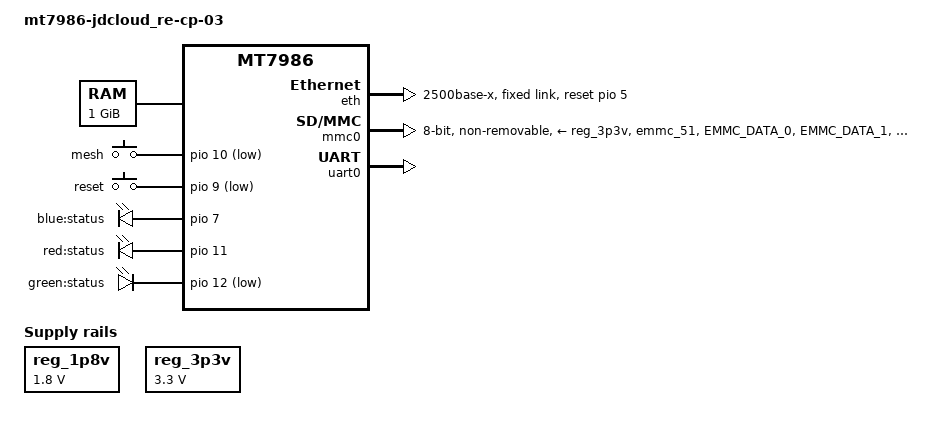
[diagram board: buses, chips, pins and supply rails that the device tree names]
// SPDX-License-Identifier: GPL-2.0-or-later

/dts-v1/;
#include <dt-bindings/input/linux-event-codes.h>
#include "mt7986.dtsi"
#include <dt-bindings/gpio/gpio.h>

/ {
	#address-cells = <1>;
	#size-cells = <1>;
	model = "mt7986-jdcloud_re-cp-03";
	compatible = "mediatek,mt7986", "mediatek,mt7986-rfb";

	chosen {
		stdout-path = &uart0;
		tick-timer = &timer0;
	};

	config {
		bootcmd = "mtkboardboot";
		blink_led = "blue:status";
		system_led = "red:status";
	};

	memory@40000000 {
		device_type = "memory";
		reg = <0x40000000 0x40000000>;
	};

	gpio-keys {
		compatible = "gpio-keys";

		button-mesh {
			label = "mesh";
			linux,code = <BTN_9>;
			gpios = <&pio 10 GPIO_ACTIVE_LOW>;
		};

		button-reset {
			label = "reset";
			linux,code = <KEY_RESTART>;
			gpios = <&pio 9 GPIO_ACTIVE_LOW>;
		};
	};

	gpio-leds {
		compatible = "gpio-leds";

		led-0 {
			label = "blue:status";
			gpios = <&pio 7 GPIO_ACTIVE_HIGH>;
		};

		red_led: led-1 {
			label = "red:status";
			gpios = <&pio 11 GPIO_ACTIVE_HIGH>;
		};

		green_led: led-2 {
			label = "green:status";
			gpios = <&pio 12 GPIO_ACTIVE_LOW>;
		};
	};

	reg_1p8v: regulator-1p8v {
		compatible = "regulator-fixed";
		regulator-name = "fixed-1.8V";
		regulator-min-microvolt = <1800000>;
		regulator-max-microvolt = <1800000>;
		regulator-boot-on;
		regulator-always-on;
	};

	reg_3p3v: regulator-3p3v {
		compatible = "regulator-fixed";
		regulator-name = "fixed-3.3V";
		regulator-min-microvolt = <3300000>;
		regulator-max-microvolt = <3300000>;
		regulator-boot-on;
		regulator-always-on;
	};

	bl2_verify {
		bl2_compatible = "emmc";
	};
};

&eth {
	status = "okay";
	mediatek,gmac-id = <0>;
	phy-mode = "2500base-x";
	mediatek,switch = "auto";
	reset-gpios = <&pio 5 GPIO_ACTIVE_HIGH>;

	fixed-link {
		speed = <2500>;
		full-duplex;
	};
};

&mmc0 {
	bus-width = <8>;
	cap-mmc-highspeed;
	cap-mmc-hw-reset;
	max-frequency = <200000000>;
	non-removable;
	pinctrl-names = "default";
	pinctrl-0 = <&mmc0_pins_default>;
	vmmc-supply = <&reg_3p3v>;
	vqmmc-supply = <&reg_1p8v>;
	status = "okay";
};

&pio {
	mmc0_pins_default: mmc0default {
		mux {
			function = "flash";
			groups =  "emmc_51";
		};

		conf-cmd-dat {
			pins = "EMMC_DATA_0", "EMMC_DATA_1", "EMMC_DATA_2",
			       "EMMC_DATA_3", "EMMC_DATA_4", "EMMC_DATA_5",
			       "EMMC_DATA_6", "EMMC_DATA_7", "EMMC_CMD";
			input-enable;
			drive-strength = <MTK_DRIVE_4mA>;
			bias-pull-up = <MTK_PUPD_SET_R1R0_01>;
		};

		conf-clk {
			pins = "EMMC_CK";
			drive-strength = <MTK_DRIVE_6mA>;
			bias-pull-down = <MTK_PUPD_SET_R1R0_10>;
		};

		conf-dsl {
			pins = "EMMC_DSL";
			bias-pull-down = <MTK_PUPD_SET_R1R0_10>;
		};

		conf-rst {
			pins = "EMMC_RSTB";
			drive-strength = <MTK_DRIVE_4mA>;
			bias-pull-up = <MTK_PUPD_SET_R1R0_01>;
		};
	};
};

&uart0 {
	status = "okay";
};

&watchdog {
	status = "disabled";
};
